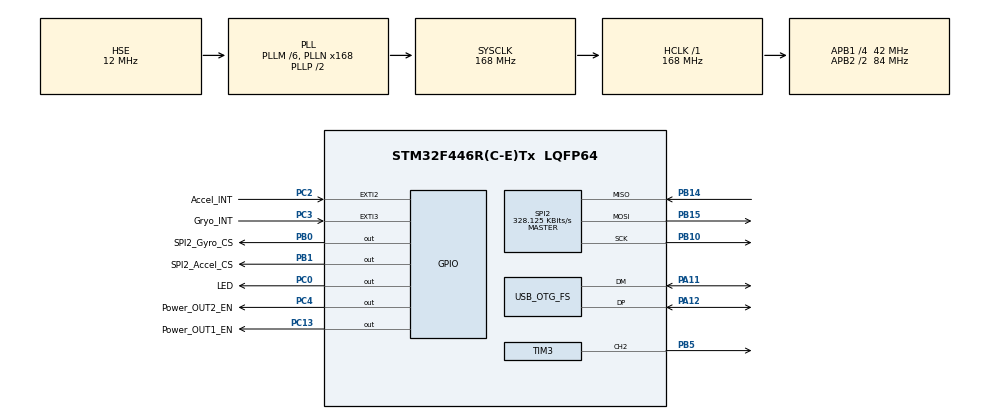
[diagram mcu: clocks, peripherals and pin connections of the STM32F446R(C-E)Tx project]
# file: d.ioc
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Dma.Request0=SPI2_RX
Dma.Request1=SPI2_TX
Dma.SPI2_RX.0.Direction=DMA_PERIPH_TO_MEMORY
Dma.SPI2_RX.0.FIFOMode=DMA_FIFOMODE_DISABLE
Dma.SPI2_RX.0.Instance=DMA1_Stream3
Dma.SPI2_RX.0.MemDataAlignment=DMA_MDATAALIGN_BYTE
Dma.SPI2_RX.0.MemInc=DMA_MINC_ENABLE
Dma.SPI2_RX.0.Mode=DMA_NORMAL
Dma.SPI2_RX.0.PeriphDataAlignment=DMA_PDATAALIGN_BYTE
Dma.SPI2_RX.0.PeriphInc=DMA_PINC_DISABLE
Dma.SPI2_RX.0.Priority=DMA_PRIORITY_VERY_HIGH
Dma.SPI2_TX.1.Direction=DMA_MEMORY_TO_PERIPH
Dma.SPI2_TX.1.FIFOMode=DMA_FIFOMODE_DISABLE
Dma.SPI2_TX.1.Instance=DMA1_Stream4
Dma.SPI2_TX.1.MemDataAlignment=DMA_MDATAALIGN_BYTE
Dma.SPI2_TX.1.MemInc=DMA_MINC_ENABLE
Dma.SPI2_TX.1.Mode=DMA_NORMAL
Dma.SPI2_TX.1.PeriphDataAlignment=DMA_PDATAALIGN_BYTE
Dma.SPI2_TX.1.PeriphInc=DMA_PINC_DISABLE
Dma.SPI2_TX.1.Priority=DMA_PRIORITY_HIGH
FREERTOS.INCLUDE_xTaskGetHandle=1
FREERTOS.Tasks01=TEMP_IMU,0,512,imu_temp_control_task,As weak,NULL,Dynamic,NULL,NULL
Mcu.Family=STM32F4
Mcu.Name=STM32F446R(C-E)Tx
Mcu.Package=LQFP64
NVIC.DMA1_Stream3_IRQn=true\:5\:0\:false\:false\:true\:false\:false\:true\:true
NVIC.DMA1_Stream4_IRQn=true\:5\:0\:false\:false\:true\:false\:false\:true\:true
NVIC.OTG_FS_IRQn=true\:5\:0\:false\:false\:true\:false\:false\:true\:true
NVIC.PriorityGroup=NVIC_PRIORITYGROUP_4
PA11.Mode=Device_Only
PA11.Signal=USB_OTG_FS_DM
PA12.Mode=Device_Only
PA12.Signal=USB_OTG_FS_DP
PA13.Mode=Serial_Wire
PA13.Signal=SYS_JTMS-SWDIO
PA14.Mode=Serial_Wire
PA14.Signal=SYS_JTCK-SWCLK
PB0.GPIO_Label=SPI2_Gyro_CS
PB0.Signal=GPIO_Output
PB1.GPIO_Label=SPI2_Accel_CS
PB1.Signal=GPIO_Output
PB10.Mode=Full_Duplex_Master
PB10.Signal=SPI2_SCK
PB14.Mode=Full_Duplex_Master
PB14.Signal=SPI2_MISO
PB15.Mode=Full_Duplex_Master
PB15.Signal=SPI2_MOSI
PB5.GPIO_PuPd=GPIO_NOPULL
PB5.GPIO_Speed=GPIO_SPEED_FREQ_LOW
PB5.Signal=S_TIM3_CH2
PC0.GPIO_Label=LED
PC0.GPIO_ModeDefaultOutputPP=GPIO_MODE_OUTPUT_PP
PC0.GPIO_PuPd=GPIO_NOPULL
PC0.GPIO_Speed=GPIO_SPEED_FREQ_LOW
PC0.PinState=GPIO_PIN_RESET
PC0.Signal=GPIO_Output
PC13.GPIO_Label=Power_OUT1_EN
PC13.Signal=GPIO_Output
PC2.GPIO_Label=Accel_INT
PC2.Signal=GPXTI2
PC3.GPIO_Label=Gryo_INT
PC3.GPIO_PuPd=GPIO_PULLUP
PC3.Signal=GPXTI3
PC4.GPIO_Label=Power_OUT2_EN
PC4.Signal=GPIO_Output
PH0-OSC_IN.Mode=HSE-External-Oscillator
PH0-OSC_IN.Signal=RCC_OSC_IN
PH1-OSC_OUT.Mode=HSE-External-Oscillator
PH1-OSC_OUT.Signal=RCC_OSC_OUT
ProjectManager.HeapSize=0x400
ProjectManager.StackSize=0x800
ProjectManager.TargetToolchain=MDK-ARM V5.27
RCC.AHBFreq_Value=168000000
RCC.APB1CLKDivider=RCC_HCLK_DIV4
RCC.APB1Freq_Value=42000000
RCC.APB1TimFreq_Value=84000000
RCC.APB2CLKDivider=RCC_HCLK_DIV2
RCC.APB2Freq_Value=84000000
RCC.APB2TimFreq_Value=168000000
RCC.CortexFreq_Value=168000000
RCC.HCLKFreq_Value=168000000
RCC.HSE_VALUE=12000000
RCC.PLLM=6
RCC.PLLN=168
RCC.PLLQ=7
RCC.PLLSAIM=6
RCC.PLLSAIN=96
RCC.PLLSAIP=RCC_PLLSAIP_DIV4
RCC.PLLSourceVirtual=RCC_PLLSOURCE_HSE
RCC.SYSCLKFreq_VALUE=168000000
RCC.SYSCLKSource=RCC_SYSCLKSOURCE_PLLCLK
RCC.USBFreq_Value=48000000
RCC.VCOOutputFreq_Value=336000000
SH.S_TIM3_CH2.0=TIM3_CH2,PWM Generation2 CH2
SPI2.BaudRatePrescaler=SPI_BAUDRATEPRESCALER_128
SPI2.CLKPhase=SPI_PHASE_2EDGE
SPI2.CLKPolarity=SPI_POLARITY_HIGH
SPI2.CalculateBaudRate=328.125 KBits/s
SPI2.Direction=SPI_DIRECTION_2LINES
SPI2.Mode=SPI_MODE_MASTER
SPI2.VirtualType=VM_MASTER
TIM3.Channel-PWM\ Generation2\ CH2=TIM_CHANNEL_2
TIM3.Period=4999
USB_DEVICE.CLASS_NAME_FS=CDC
USB_DEVICE.VirtualMode-CDC_FS=Cdc
USB_DEVICE.VirtualModeFS=Cdc_FS
USB_OTG_FS.VirtualMode=Device_Only
VP_FREERTOS_VS_CMSIS_V1.Mode=CMSIS_V1
VP_USB_DEVICE_VS_USB_DEVICE_CDC_FS.Mode=CDC_FS
board=custom

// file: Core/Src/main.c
/* USER CODE BEGIN Header */
/**
  ******************************************************************************
  * @file           : main.c
  * @brief          : Main program body
  ******************************************************************************
  * @attention
  *
  * Copyright (c) 2024 STMicroelectronics.
  * All rights reserved.
  *
  * This software is licensed under terms that can be found in the LICENSE file
  * in the root directory of this software component.
  * If no LICENSE file comes with this software, it is provided AS-IS.
  *
  ******************************************************************************
  */
/* USER CODE END Header */
#include "main.h"
#include "cmsis_os.h"
#include "dma.h"
#include "spi.h"
#include "tim.h"
#include "usb_device.h"
#include "gpio.h"

/* USER CODE BEGIN Includes */
#include "bsp_dwt.h"

/* USER CODE END Includes */

/* USER CODE BEGIN PTD */
float yaw = 0;
int t =0;

/* USER CODE END PTD */

void SystemClock_Config(void);
void MX_FREERTOS_Init(void);

/* USER CODE BEGIN 0 */
extern int imu[3];

/* USER CODE END 0 */

int main(void)
{

  /* MCU Configuration--------------------------------------------------------*/

  /* Reset of all peripherals, Initializes the Flash interface and the Systick. */
  HAL_Init();

  /* Configure the system clock */
  SystemClock_Config();

  /* Initialize all configured peripherals */
  MX_GPIO_Init();
  MX_DMA_Init();
  MX_SPI2_Init();
  MX_TIM3_Init();
  /* USER CODE BEGIN 2 */
    HAL_TIM_PWM_Start(&htim3,TIM_CHANNEL_1);//ä˝żč˝TIM3ĺŽćśĺ¨PWMčžĺş
  DWT_Init(168);
      while(BMI088_init())
    {
        ;
    }
  /* USER CODE END 2 */

  /* Call init function for freertos objects (in freertos.c) */
  MX_FREERTOS_Init();

  /* Start scheduler */
  osKernelStart();

  /* We should never get here as control is now taken by the scheduler */
  /* Infinite loop */
  /* USER CODE BEGIN WHILE */
  while (1)
  {
        HAL_Delay(1);
             t++;

    __HAL_TIM_SetCompare(&htim3, TIM_CHANNEL_1, 15-t);
    /* USER CODE END WHILE */

  }
}

void SystemClock_Config(void)
{
  RCC_OscInitTypeDef RCC_OscInitStruct = {0};
  RCC_ClkInitTypeDef RCC_ClkInitStruct = {0};

  /** Configure the main internal regulator output voltage
  */
  __HAL_RCC_PWR_CLK_ENABLE();
  __HAL_PWR_VOLTAGESCALING_CONFIG(PWR_REGULATOR_VOLTAGE_SCALE1);

  /** Initializes the RCC Oscillators according to the specified parameters
  * in the RCC_OscInitTypeDef structure.
  */
  RCC_OscInitStruct.OscillatorType = RCC_OSCILLATORTYPE_HSE;
  RCC_OscInitStruct.HSEState = RCC_HSE_ON;
  RCC_OscInitStruct.PLL.PLLState = RCC_PLL_ON;
  RCC_OscInitStruct.PLL.PLLSource = RCC_PLLSOURCE_HSE;
  RCC_OscInitStruct.PLL.PLLM = 6;
  RCC_OscInitStruct.PLL.PLLN = 168;
  RCC_OscInitStruct.PLL.PLLP = RCC_PLLP_DIV2;
  RCC_OscInitStruct.PLL.PLLQ = 7;
  RCC_OscInitStruct.PLL.PLLR = 2;
  if (HAL_RCC_OscConfig(&RCC_OscInitStruct) != HAL_OK)
  {
    Error_Handler();
  }

  /** Initializes the CPU, AHB and APB buses clocks
  */
  RCC_ClkInitStruct.ClockType = RCC_CLOCKTYPE_HCLK|RCC_CLOCKTYPE_SYSCLK
                              |RCC_CLOCKTYPE_PCLK1|RCC_CLOCKTYPE_PCLK2;
  RCC_ClkInitStruct.SYSCLKSource = RCC_SYSCLKSOURCE_PLLCLK;
  RCC_ClkInitStruct.AHBCLKDivider = RCC_SYSCLK_DIV1;
  RCC_ClkInitStruct.APB1CLKDivider = RCC_HCLK_DIV4;
  RCC_ClkInitStruct.APB2CLKDivider = RCC_HCLK_DIV2;

  if (HAL_RCC_ClockConfig(&RCC_ClkInitStruct, FLASH_LATENCY_5) != HAL_OK)
  {
    Error_Handler();
  }
}

void Error_Handler(void)
{
  __disable_irq();
  while (1)
  {
  }
}

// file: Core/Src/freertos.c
/* USER CODE BEGIN Header */
/**
  ******************************************************************************
  * File Name          : freertos.c
  * Description        : Code for freertos applications
  ******************************************************************************
  * @attention
  *
  * Copyright (c) 2024 STMicroelectronics.
  * All rights reserved.
  *
  * This software is licensed under terms that can be found in the LICENSE file
  * in the root directory of this software component.
  * If no LICENSE file comes with this software, it is provided AS-IS.
  *
  ******************************************************************************
  */
/* USER CODE END Header */

#include "FreeRTOS.h"
#include "task.h"
#include "main.h"
#include "cmsis_os.h"

osThreadId TEMP_IMUHandle;

/* USER CODE BEGIN FunctionPrototypes */
osThreadId LEDHandle;
void led_task(void const * argument);

/* USER CODE END FunctionPrototypes */

void imu_temp_control_task(void const * argument);

extern void MX_USB_DEVICE_Init(void);
void MX_FREERTOS_Init(void); /* (MISRA C 2004 rule 8.1) */

/* GetIdleTaskMemory prototype (linked to static allocation support) */
void vApplicationGetIdleTaskMemory( StaticTask_t **ppxIdleTaskTCBBuffer, StackType_t **ppxIdleTaskStackBuffer, uint32_t *pulIdleTaskStackSize );

/* USER CODE BEGIN GET_IDLE_TASK_MEMORY */
static StaticTask_t xIdleTaskTCBBuffer;
static StackType_t xIdleStack[configMINIMAL_STACK_SIZE];

void vApplicationGetIdleTaskMemory( StaticTask_t **ppxIdleTaskTCBBuffer, StackType_t **ppxIdleTaskStackBuffer, uint32_t *pulIdleTaskStackSize )
{
  *ppxIdleTaskTCBBuffer = &xIdleTaskTCBBuffer;
  *ppxIdleTaskStackBuffer = &xIdleStack[0];
  *pulIdleTaskStackSize = configMINIMAL_STACK_SIZE;
  /* place for user code */
}
/* USER CODE END GET_IDLE_TASK_MEMORY */

void MX_FREERTOS_Init(void) {

  /* Create the thread(s) */
  /* definition and creation of TEMP_IMU */
  osThreadDef(TEMP_IMU, imu_temp_control_task, osPriorityNormal, 0, 512);
  TEMP_IMUHandle = osThreadCreate(osThread(TEMP_IMU), NULL);

  /* USER CODE BEGIN RTOS_THREADS */
  /* add threads, ... */

  osThreadDef(LED, led_task, osPriorityNormal, 0, 512);
 LEDHandle      = osThreadCreate(osThread(LED), NULL);
  /* USER CODE END RTOS_THREADS */

}

__weak void imu_temp_control_task(void const * argument)
{
  /* init code for USB_DEVICE */
  MX_USB_DEVICE_Init();
  for(;;)
  {
    osDelay(1);
  }
}
